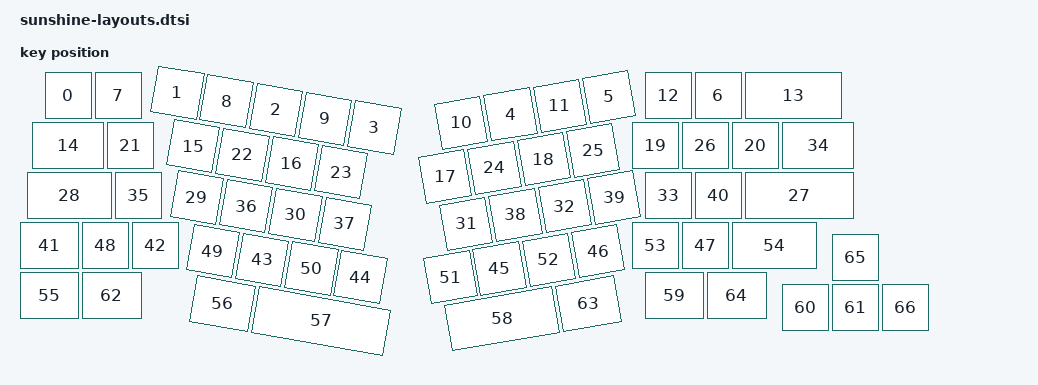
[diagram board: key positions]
/*
 * Copyright (c) 2025 The ZMK Contributors
 *
 * SPDX-License-Identifier: MIT
 */
 
 #include <physical_layouts.dtsi>

/ {
    hybrid_layout: hybrid_layout {
        compatible = "zmk,physical-layout";
        display-name = "Hybrid Layout";
        
        kscan = <&kscan0>;
        transform = <&hybrid_transform>;

        keys  //                     w   h    x    y     rot    rx    ry
            = <&key_physical_attrs 100 100   50    5       0     0     0>
            , <&key_physical_attrs 100 100  225    0    1000   300   300>
            , <&key_physical_attrs 100 100  425    0    1000   300   300>
            , <&key_physical_attrs 100 100  625    0    1000   300   300>
            , <&key_physical_attrs 100 100  975    0 (-1000)  1250   300>
            , <&key_physical_attrs 100 100 1175    0 (-1000)  1250   300>
            , <&key_physical_attrs 100 100 1350    5       0     0     0>
            , <&key_physical_attrs 100 100  150    5       0     0     0>
            , <&key_physical_attrs 100 100  325    0    1000   300   300>
            , <&key_physical_attrs 100 100  525    0    1000   300   300>
            , <&key_physical_attrs 100 100  875    0 (-1000)  1250   300>
            , <&key_physical_attrs 100 100 1075    0 (-1000)  1250   300>
            , <&key_physical_attrs 100 100 1250    5       0     0     0>
            , <&key_physical_attrs 200 100 1450    5       0     0     0>
            , <&key_physical_attrs 150 100   25  105       0     0     0>
            , <&key_physical_attrs 100 100  275  100    1000   300   300>
            , <&key_physical_attrs 100 100  475  100    1000   300   300>
            , <&key_physical_attrs 100 100  825  100 (-1000)  1250   300>
            , <&key_physical_attrs 100 100 1025  100 (-1000)  1250   300>
            , <&key_physical_attrs 100 100 1225  105       0     0     0>
            , <&key_physical_attrs 100 100 1425  105       0     0     0>
            , <&key_physical_attrs 100 100  175  105       0     0     0>
            , <&key_physical_attrs 100 100  375  100    1000   300   300>
            , <&key_physical_attrs 100 100  575  100    1000   300   300>
            , <&key_physical_attrs 100 100  925  100 (-1000)  1250   300>
            , <&key_physical_attrs 100 100 1125  100 (-1000)  1250   300>
            , <&key_physical_attrs 100 100 1325  105       0     0     0>
            , <&key_physical_attrs 225 100 1450  205       0     0     0>
            , <&key_physical_attrs 175 100   15  205       0     0     0>
            , <&key_physical_attrs 100 100  300  200    1000   300   300>
            , <&key_physical_attrs 100 100  500  200    1000   300   300>
            , <&key_physical_attrs 100 100  850  200 (-1000)  1250   300>
            , <&key_physical_attrs 100 100 1050  200 (-1000)  1250   300>
            , <&key_physical_attrs 100 100 1250  205       0     0     0>
            , <&key_physical_attrs 150 100 1525  105       0     0     0>
            , <&key_physical_attrs 100 100  190  205       0     0     0>
            , <&key_physical_attrs 100 100  400  200    1000   300   300>
            , <&key_physical_attrs 100 100  600  200    1000   300   300>
            , <&key_physical_attrs 100 100  950  200 (-1000)  1250   300>
            , <&key_physical_attrs 100 100 1150  200 (-1000)  1250   300>
            , <&key_physical_attrs 100 100 1350  205       0     0     0>
            , <&key_physical_attrs 125 100    0  305       0     0     0>
            , <&key_physical_attrs 100 100  225  305       0     0     0>
            , <&key_physical_attrs 100 100  450  300    1000   300   300>
            , <&key_physical_attrs 100 100  650  300    1000   300   300>
            , <&key_physical_attrs 100 100  900  300 (-1000)  1250   300>
            , <&key_physical_attrs 100 100 1100  300 (-1000)  1250   300>
            , <&key_physical_attrs 100 100 1325  305       0     0     0>
            , <&key_physical_attrs 100 100  125  305       0     0     0>
            , <&key_physical_attrs 100 100  350  300    1000   300   300>
            , <&key_physical_attrs 100 100  550  300    1000   300   300>
            , <&key_physical_attrs 100 100  800  300 (-1000)  1250   300>
            , <&key_physical_attrs 100 100 1000  300 (-1000)  1250   300>
            , <&key_physical_attrs 100 100 1225  305       0     0     0>
            , <&key_physical_attrs 175 100 1425  305       0     0     0>
            , <&key_physical_attrs 125 100    0  405       0     0     0>
            , <&key_physical_attrs 125 100  375  400    1000   300   300>
            , <&key_physical_attrs 275 100  500  400    1000   300   300>
            , <&key_physical_attrs 225 100  825  400 (-1000)  1250   300>
            , <&key_physical_attrs 125 100 1250  405       0     0     0>
            , <&key_physical_attrs 100 100 1525  430       0     0     0>
            , <&key_physical_attrs 100 100 1625  430       0     0     0>
            , <&key_physical_attrs 125 100  125  405       0     0     0>
            , <&key_physical_attrs 125 100 1050  400 (-1000)  1250   300>
            , <&key_physical_attrs 125 100 1375  405       0     0     0>
            , <&key_physical_attrs 100 100 1625  330       0     0     0>
            , <&key_physical_attrs 100 100 1725  430       0     0     0>
            ;
    };
};
